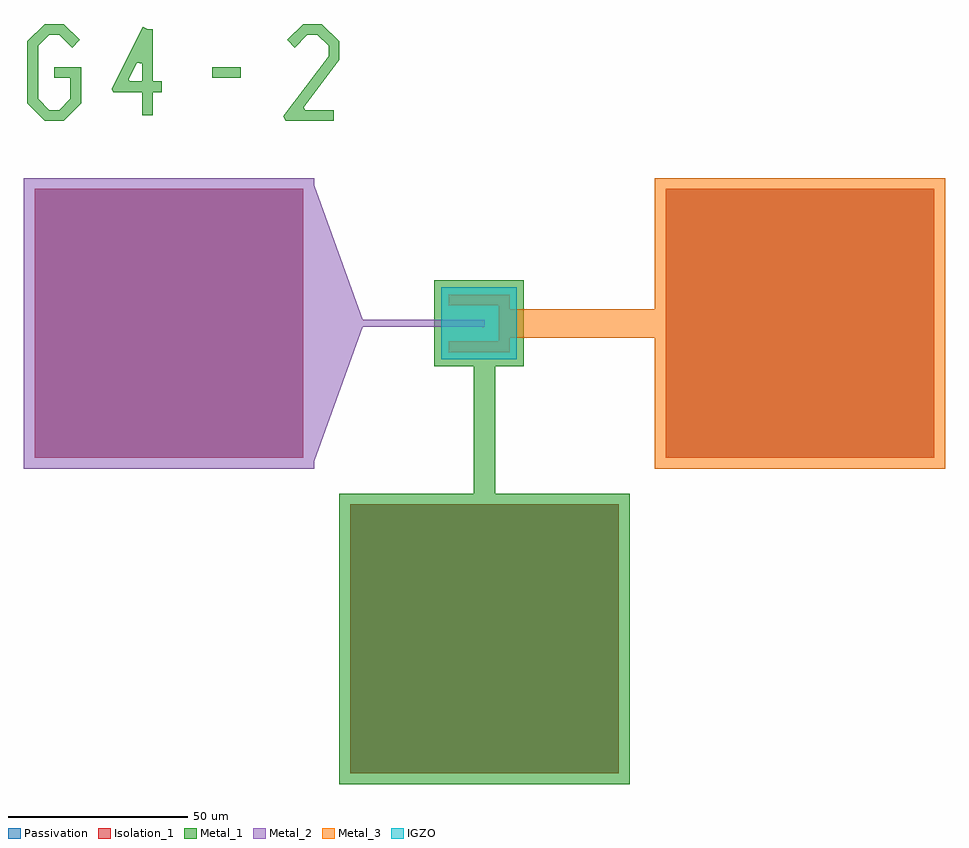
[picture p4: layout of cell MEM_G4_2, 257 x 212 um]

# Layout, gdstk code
import gdstk
lib = gdstk.Library(unit=1e-6, precision=1e-09)
def R(c, l, rs):  # rectangles x0, y0, x1, y1
    for r in rs: c.add(gdstk.rectangle(r[:2], r[2:], *l))
def P(c, l, *ps):  # polygons
    for p in ps: c.add(gdstk.Polygon(p, *l))
Metal_1 = (1, 0)
Isolation_1 = (2, 0)
Metal_2 = (3, 0)
IGZO = (4, 0)
Metal_3 = (5, 0)
Passivation = (6, 0)

mem_g4_2 = lib.new_cell('MEM_G4_2')
R(mem_g4_2, Metal_1, [(87.5,-0.5,168.5,80.5), (52,196.5,60,199.5)])
P(mem_g4_2, Metal_1, [(72.499,184.5),(71.9,185.7),(84.5,202.5),(84.5,205.378),(81.378,208.5),(78.622,208.5),(75.061,204.939),(72.939,207.061),(77.378,211.5),(82.622,211.5),(87.5,206.622),(87.5,201.5),(77.6,188.3),(78,187.5),(86,187.5),(86,184.5)],
  [(32.5,186),(32.5,192.5),(24.5,192.5),(23.987,193.33),(27.698,200.752),(31.053,200.752),(28.703,196.053),(29.045,195.5),(32.5,195.5),(32.5,200.41),(31.053,200.752),(27.698,200.752),(32.658,210.671),(33.999,210),(35.5,210),(35.5,195.5),(38,195.5),(38,192.5),(35.5,192.5),(35.5,186)],
  [(5.378,184.5),(0.5,189.378),(0.5,206.622),(5.378,211.5),(10.622,211.5),(15.061,207.061),(12.939,204.939),(9.378,208.5),(6.622,208.5),(3.5,205.378),(3.5,190.622),(6.622,187.5),(9.378,187.5),(12.5,190.622),(12.5,196.5),(8,196.5),(8,199.5),(15.5,199.5),(15.5,189.378),(10.622,184.5)],
  [(88,0),(88,80),(125,80),(125,116),(114,116),(114,140),(139,140),(139,116),(131,116),(131,80),(168,80),(168,0)])
R(mem_g4_2, Isolation_1, [(90.5,2.5,165.5,77.5), (2.5,90.5,77.5,165.5), (178.5,90.5,253.5,165.5)])
R(mem_g4_2, Metal_2, [(-0.5,87.5,80.5,168.5), (0,88,80,168)])
P(mem_g4_2, Metal_2, [(80,88),(80,168),(94,129),(128,129),(128,127),(94,127)])
R(mem_g4_2, IGZO, [(116,118,137,138)])
R(mem_g4_2, Metal_3, [(175.5,87.5,256.5,168.5)])
P(mem_g4_2, Metal_3, [(176,88),(176,124),(135,124),(135,120),(118,120),(118,123),(132,123),(132,133),(118,133),(118,136),(135,136),(135,132),(176,132),(176,168),(256,168),(256,88)])
R(mem_g4_2, Passivation, [(90.5,2.5,165.5,77.5), (2.5,90.5,77.5,165.5), (178.5,90.5,253.5,165.5)])

lib.write_gds('MEM_G4_2.gds')
